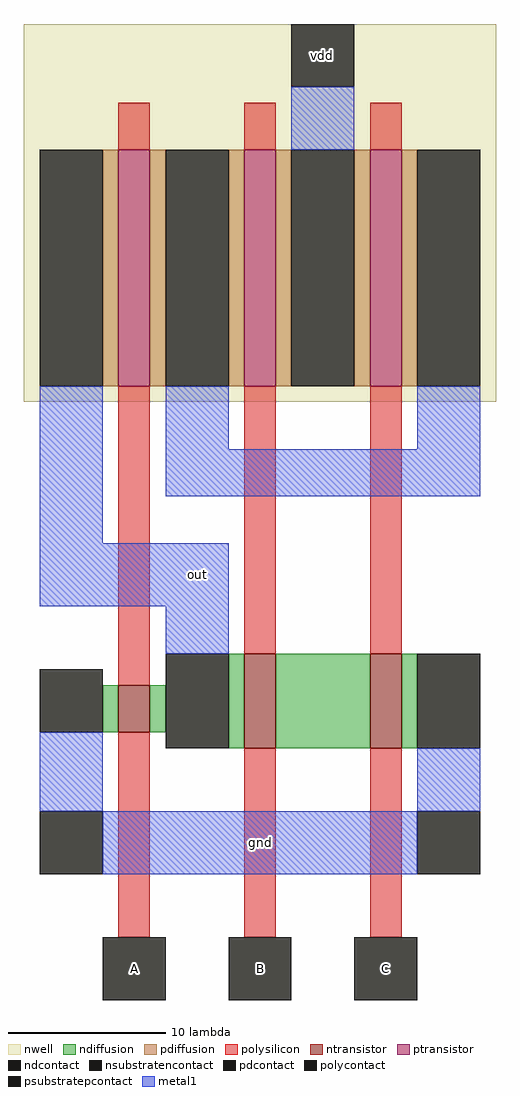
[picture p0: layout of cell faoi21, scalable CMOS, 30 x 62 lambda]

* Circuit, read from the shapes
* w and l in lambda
.subckt faoi21 A B C gnd out vdd
M1 out A gnd gnd nfet w=3 l=2
M2 n1 B out gnd nfet w=6 l=2
M3 gnd C n1 gnd nfet w=6 l=2
M4 n2 A out vdd pfet w=15 l=2
M5 vdd B n2 vdd pfet w=15 l=2
M6 n2 C vdd vdd pfet w=15 l=2
.ends

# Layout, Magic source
magic
tech scmos
<< nwell >>
rect -15 26 15 50
<< polysilicon >>
rect -9 42 -7 45
rect -1 42 1 45
rect 7 42 9 45
rect -9 8 -7 27
rect -1 10 1 27
rect 7 10 9 27
rect -9 -8 -7 5
rect -1 -8 1 4
rect 7 -8 9 4
<< ndiffusion >>
rect -10 5 -9 8
rect -7 5 -6 8
rect -2 4 -1 10
rect 1 4 7 10
rect 9 4 10 10
<< pdiffusion >>
rect -10 27 -9 42
rect -7 27 -6 42
rect -2 27 -1 42
rect 1 27 2 42
rect 6 27 7 42
rect 9 27 10 42
<< metal1 >>
rect 2 42 6 46
rect -14 17 -10 27
rect -6 23 -2 27
rect 10 23 14 27
rect -6 20 14 23
rect -14 13 -2 17
rect -6 10 -2 13
rect -14 0 -10 5
rect 10 0 14 4
rect -10 -4 10 0
<< ntransistor >>
rect -9 5 -7 8
rect -1 4 1 10
rect 7 4 9 10
<< ptransistor >>
rect -9 27 -7 42
rect -1 27 1 42
rect 7 27 9 42
<< polycontact >>
rect -10 -12 -6 -8
rect -2 -12 2 -8
rect 6 -12 10 -8
<< ndcontact >>
rect -14 5 -10 9
rect -6 4 -2 10
rect 10 4 14 10
<< pdcontact >>
rect -14 27 -10 42
rect -6 27 -2 42
rect 2 27 6 42
rect 10 27 14 42
<< psubstratepcontact >>
rect -14 -4 -10 0
rect 10 -4 14 0
<< nsubstratencontact >>
rect 2 46 6 50
<< labels >>
rlabel polycontact -10 -12 -6 -8 0 A
rlabel polycontact -2 -12 2 -8 0 B
rlabel polycontact 6 -12 10 -8 0 C
rlabel metal1 -14 -4 14 0 0 gnd
rlabel metal1 -6 13 -2 17 0 out
rlabel nsubstratencontact 2 46 6 50 0 vdd
<< end >>
